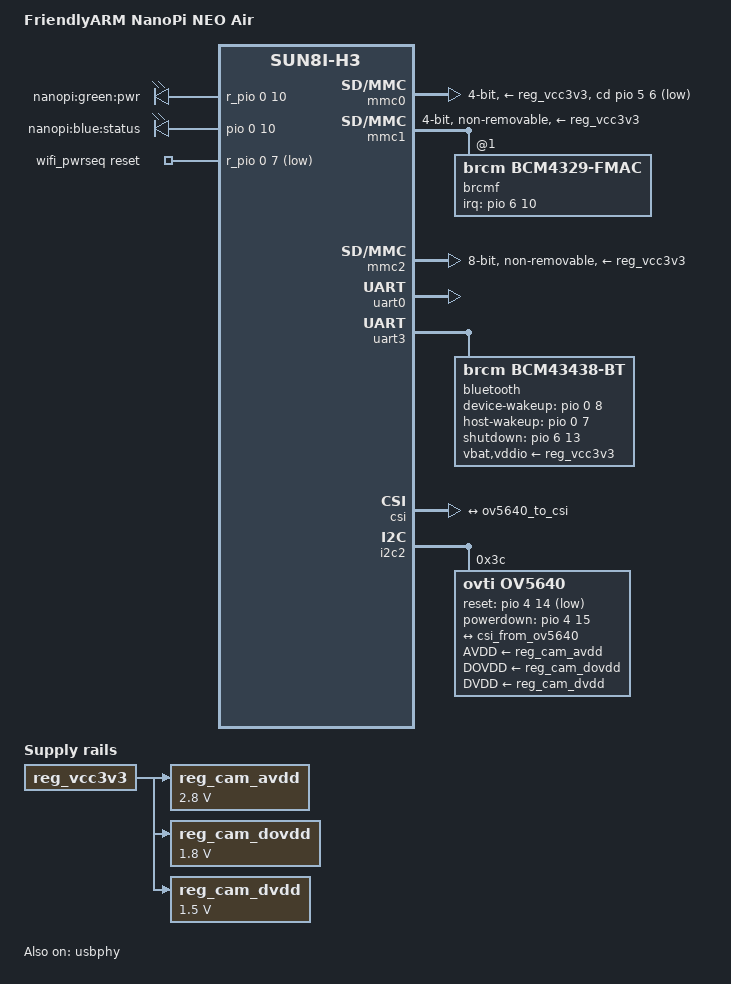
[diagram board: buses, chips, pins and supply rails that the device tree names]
/*
 * Copyright (C) 2017 Jelle van der Waa <jelle@vdwaa.nl>
 *
 * This file is dual-licensed: you can use it either under the terms
 * of the GPL or the X11 license, at your option. Note that this dual
 * licensing only applies to this file, and not this project as a
 * whole.
 *
 *  a) This file is free software; you can redistribute it and/or
 *     modify it under the terms of the GNU General Public License as
 *     published by the Free Software Foundation; either version 2 of the
 *     License, or (at your option) any later version.
 *
 *     This file is distributed in the hope that it will be useful,
 *     but WITHOUT ANY WARRANTY; without even the implied warranty of
 *     MERCHANTABILITY or FITNESS FOR A PARTICULAR PURPOSE.  See the
 *     GNU General Public License for more details.
 *
 * Or, alternatively,
 *
 *  b) Permission is hereby granted, free of charge, to any person
 *     obtaining a copy of this software and associated documentation
 *     files (the "Software"), to deal in the Software without
 *     restriction, including without limitation the rights to use,
 *     copy, modify, merge, publish, distribute, sublicense, and/or
 *     sell copies of the Software, and to permit persons to whom the
 *     Software is furnished to do so, subject to the following
 *     conditions:
 *
 *     The above copyright notice and this permission notice shall be
 *     included in all copies or substantial portions of the Software.
 *
 *     THE SOFTWARE IS PROVIDED "AS IS", WITHOUT WARRANTY OF ANY KIND,
 *     EXPRESS OR IMPLIED, INCLUDING BUT NOT LIMITED TO THE WARRANTIES
 *     OF MERCHANTABILITY, FITNESS FOR A PARTICULAR PURPOSE AND
 *     NONINFRINGEMENT. IN NO EVENT SHALL THE AUTHORS OR COPYRIGHT
 *     HOLDERS BE LIABLE FOR ANY CLAIM, DAMAGES OR OTHER LIABILITY,
 *     WHETHER IN AN ACTION OF CONTRACT, TORT OR OTHERWISE, ARISING
 *     FROM, OUT OF OR IN CONNECTION WITH THE SOFTWARE OR THE USE OR
 *     OTHER DEALINGS IN THE SOFTWARE.
 */

/dts-v1/;
#include "sun8i-h3.dtsi"
#include "sunxi-common-regulators.dtsi"

#include <dt-bindings/gpio/gpio.h>

/ {
	model = "FriendlyARM NanoPi NEO Air";
	compatible = "friendlyarm,nanopi-neo-air", "allwinner,sun8i-h3";

	aliases {
		serial0 = &uart0;
	};

	chosen {
		stdout-path = "serial0:115200n8";
	};

	leds {
		compatible = "gpio-leds";

		led-0 {
			label = "nanopi:green:pwr";
			gpios = <&r_pio 0 10 GPIO_ACTIVE_HIGH>; /* PL10 */
			default-state = "on";
		};

		led-1 {
			label = "nanopi:blue:status";
			gpios = <&pio 0 10 GPIO_ACTIVE_HIGH>; /* PA10 */
		};
	};

	wifi_pwrseq: pwrseq {
		compatible = "mmc-pwrseq-simple";
		reset-gpios = <&r_pio 0 7 GPIO_ACTIVE_LOW>; /* PL7 */
	};

        cam_xclk: cam-xclk {
                #clock-cells = <0>;
                compatible = "fixed-clock";
                clock-frequency = <24000000>;
                clock-output-names = "cam-xclk";
        };

        reg_cam_avdd: cam-avdd {
                compatible = "regulator-fixed";
                regulator-name = "cam-avdd";
                regulator-min-microvolt = <2800000>;
                regulator-max-microvolt = <2800000>;
                vin-supply = <&reg_vcc3v3>;
        };

        reg_cam_dovdd: cam-dovdd {
                compatible = "regulator-fixed";
                regulator-name = "cam-dovdd";
                regulator-min-microvolt = <1800000>;
                regulator-max-microvolt = <1800000>;
                vin-supply = <&reg_vcc3v3>;
        };

        reg_cam_dvdd: cam-dvdd {
                compatible = "regulator-fixed";
                regulator-name = "cam-dvdd";
                regulator-min-microvolt = <1500000>;
                regulator-max-microvolt = <1500000>;
                vin-supply = <&reg_vcc3v3>;
        };


};

&mmc0 {
	vmmc-supply = <&reg_vcc3v3>;
	bus-width = <4>;
	cd-gpios = <&pio 5 6 GPIO_ACTIVE_LOW>; /* PF6 */
	status = "okay";
};

&mmc1 {
	vmmc-supply = <&reg_vcc3v3>;
	vqmmc-supply = <&reg_vcc3v3>;
	mmc-pwrseq = <&wifi_pwrseq>;
	bus-width = <4>;
	non-removable;
	status = "okay";

	brcmf: bcrmf@1 {
		reg = <1>;
		compatible = "brcm,bcm4329-fmac";
		interrupt-parent = <&pio>;
		interrupts = <6 10 IRQ_TYPE_LEVEL_LOW>; /* PG10 / EINT10 */
		interrupt-names = "host-wake";
	};
};

&mmc2 {
	pinctrl-names = "default";
	pinctrl-0 = <&mmc2_8bit_pins>;
	vmmc-supply = <&reg_vcc3v3>;
	vqmmc-supply = <&reg_vcc3v3>;
	bus-width = <8>;
	non-removable;
	status = "okay";
};

&uart0 {
	pinctrl-names = "default";
	pinctrl-0 = <&uart0_pa_pins>;
	status = "okay";
};

&uart3 {
	pinctrl-names = "default";
	pinctrl-0 = <&uart3_pins>, <&uart3_rts_cts_pins>;
	uart-has-rtscts;
	status = "okay";

	bluetooth {
		compatible = "brcm,bcm43438-bt";
		clocks = <&rtc CLK_OSC32K_FANOUT>;
		clock-names = "lpo";
		vbat-supply = <&reg_vcc3v3>;
		vddio-supply = <&reg_vcc3v3>;
		device-wakeup-gpios = <&pio 0 8 GPIO_ACTIVE_HIGH>; /* PA8 */
		host-wakeup-gpios = <&pio 0 7 GPIO_ACTIVE_HIGH>; /* PA7 */
		shutdown-gpios = <&pio 6 13 GPIO_ACTIVE_HIGH>; /* PG13 */
	};
};

&usbphy {
	/* USB VBUS is always on */
	status = "okay";
};

&csi {
    status = "okay";

    port {
        #address-cells = <1>;
        #size-cells = <0>;

        /* Parallel bus endpoint */
        csi_from_ov5640: endpoint {
            remote-endpoint = <&ov5640_to_csi>;
            bus-width = <8>;
            data-shift = <2>;
            hsync-active = <1>; /* Active high */
            vsync-active = <0>; /* Active low */
            data-active = <1>;  /* Active high */
            pclk-sample = <1>;  /* Rising */
        };
    };
};

&i2c2 {
   status = "okay";

   ov5640: camera@3c {
        compatible = "ovti,ov5640";
        reg = <0x3c>;
        clocks = <&cam_xclk>;
        clock-names = "xclk";

        reset-gpios = <&pio 4 14 GPIO_ACTIVE_LOW>;
        powerdown-gpios = <&pio 4 15 GPIO_ACTIVE_HIGH>;
        AVDD-supply = <&reg_cam_avdd>;
        DOVDD-supply = <&reg_cam_dovdd>;
        DVDD-supply = <&reg_cam_dvdd>;

        port {
            ov5640_to_csi: endpoint {
                remote-endpoint = <&csi_from_ov5640>;
                bus-width = <8>;
                data-shift = <2>;
                hsync-active = <1>; /* Active high */
                vsync-active = <0>; /* Active low */
                data-active = <1>;  /* Active high */
                pclk-sample = <1>;  /* Rising */
            };
        };
    };
};
&i2c2_pins {
   bias-pull-up;
};
